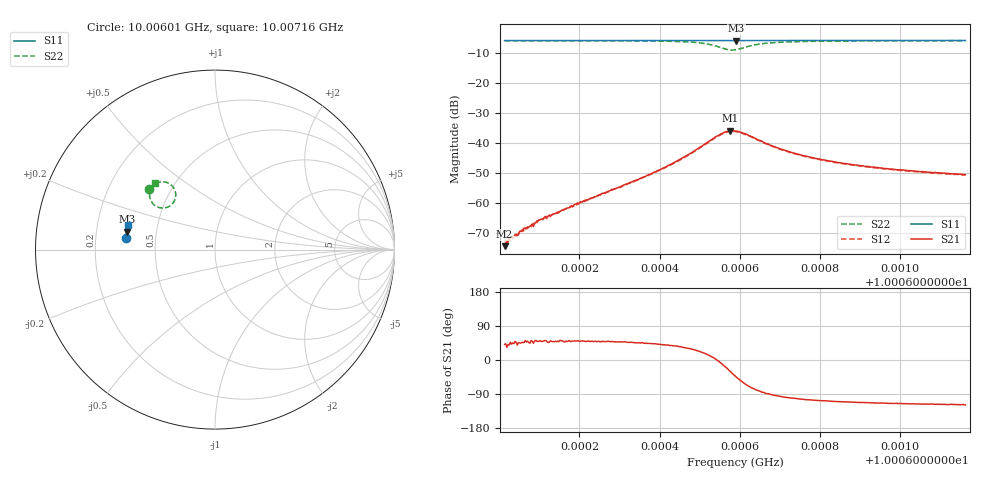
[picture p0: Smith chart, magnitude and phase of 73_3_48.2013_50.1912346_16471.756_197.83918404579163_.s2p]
#  HZ  S  RI  R  50.00
! Rohde & Schwarz Vector Network Analyzer
! Rohde-Schwarz,ZNB20-2Port,1311601062101988,3.16
! Created: UTC 3/20/2024, 11:39:16 AM
! freq[Hz]  re:S11  im:S11  re:S21  im:S21  re:S12  im:S12  re:S22  im:S22
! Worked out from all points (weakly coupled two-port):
!   401 points, 10.00601 GHz to 10.00716 GHz, reference 50 ohm
!   highest |S21| = -36.07 dB at 10.00658 GHz (marker M1); lowest = -74.5 dB at 10.00601 GHz (marker M2)
!   lowest |S11| = -6.0 dB at 10.00659 GHz (marker M3), VSWR 3.01, Z = 16.8 + j4.45 ohm
!   |S11| at or under -10 dB: nowhere
!   |S22| runs from -9.2 to -6.0 dB; largest |S21 - S12| = 0.0011
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1.0006014e10  -0.4977 0.0634  0.000141 0.000124  0.000165 0.00016  -0.3657 0.3388
1.0006022e10  -0.4976 0.0638  0.000166 0.000145  0.000144 0.000153  -0.3653 0.3395
1.0006031e10  -0.4975 0.0645  0.000198 0.000177  0.000177 0.000209  -0.3646 0.3401
1.0006054e10  -0.4974 0.0659  0.000236 0.000233  0.000226 0.000251  -0.3632 0.3415
1.00061e10  -0.4971 0.069  0.000332 0.000391  0.000321 0.0004  -0.3601 0.345
1.0006123e10  -0.4968 0.0705  0.000417 0.000434  0.000358 0.000421  -0.3586 0.3468
1.0006206e10  -0.4962 0.0758  0.000647 0.000773  0.000629 0.000802  -0.3516 0.3533
1.000631e10  -0.4954 0.0826  0.00131 0.00144  0.00123 0.00146  -0.3396 0.3627
1.0006399e10  -0.4945 0.0884  0.00262 0.00233  0.00245 0.00239  -0.3213 0.3724
1.0006453e10  -0.4938 0.0919  0.00442 0.00305  0.00418 0.00316  -0.3002 0.3776
1.0006513e10  -0.4926 0.096  0.00906 0.00282  0.0087 0.00315  -0.2541 0.3674
1.0006556e10  -0.4915 0.0982  0.014 -0.00269  0.0138 -0.00209  -0.2186 0.3058
1.0006577e10  -0.4913 0.099  0.0136 -0.00797  0.0137 -0.00712  -0.234 0.2595
1.0006588e10  -0.4912 0.0993  0.0116 -0.0104  0.0119 -0.00952  -0.256 0.2406
1.0006591e10  -0.4911 0.0995  0.011 -0.0109  0.0114 -0.0101  -0.2622 0.2375
1.0006623e10  -0.4915 0.1013  0.00467 -0.0123  0.0053 -0.0118  -0.325 0.2396
1.0006654e10  -0.4916 0.1034  0.00105 -0.0105  0.00152 -0.0102  -0.354 0.2666
1.0006712e10  -0.4912 0.1073  -0.00106 -0.00739  -0.000673 -0.00732  -0.3646 0.3032
1.000678e10  -0.4904 0.1117  -0.00151 -0.0054  -0.00123 -0.00537  -0.3617 0.3263
1.0006855e10  -0.4895 0.1167  -0.00156 -0.00427  -0.00134 -0.00428  -0.3561 0.3405
1.0006973e10  -0.488 0.1241  -0.00149 -0.00331  -0.00131 -0.00332  -0.3478 0.3548
1.0007162e10  -0.4852 0.1361  -0.00139 -0.00257  -0.0012 -0.00258  -0.3359 0.3697
